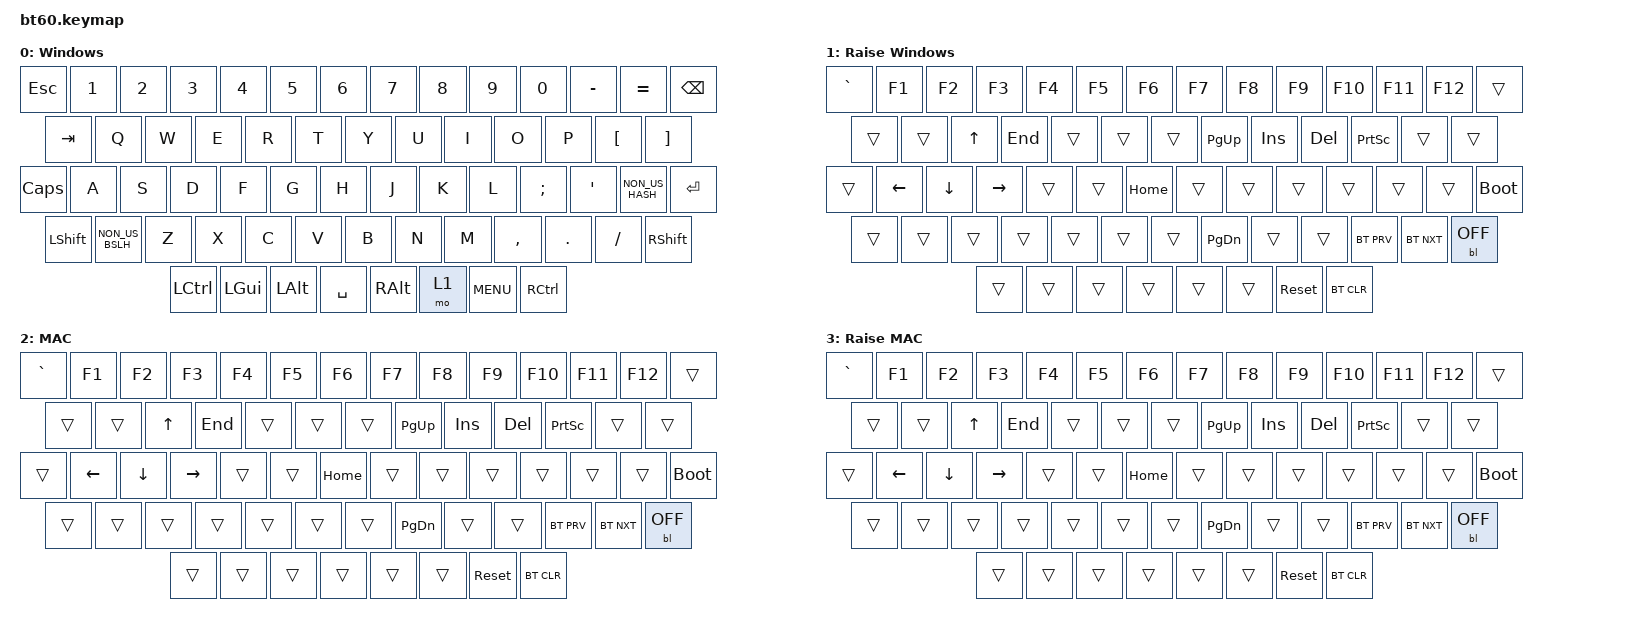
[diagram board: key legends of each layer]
#include <behaviors.dtsi>
#include <dt-bindings/zmk/keys.h>
#include <dt-bindings/zmk/bt.h>
#include <dt-bindings/zmk/rgb.h>
#include <dt-bindings/zmk/backlight.h>

/ {
	chosen {
		zmk,physical-layout = &layout_60_iso;
	};
	keymap {
		compatible = "zmk,keymap";

		windows {
			display-name = "Windows";
				// ------------------------------------------------------------------------------------------
				// |  ESC  |  1  |  2  |  3  |  4  |  5  |  6  |  7  |  8  |  9  |  0  |  -  |  =  |   BKSP
				// | TAB  |  Q  |  W  |  E  |  R  |  T  |  Y  |  U  |  I  |  O  |  P  |  [  |  ]  |        |
				// | CAPS  |  A  |  S  |  D  |  F  |  G  |  H  |  J  |  K  |  L  |  ;  |  '  |  #  | ENTER |
				// |  SHIFT|  \ |  Z  |  X  |  C  |  V  |  B  |  N  |  M  |  ,  |  .  | /   |    SHIFT    |
				// |  CTL  |  WIN  |  ALT  |            SPACE               | ALT | 1    |  MENU    |  CTRL|
				// ------------------------------------------------------------------------------------------
			bindings = <

				&kp ESC &kp N1 &kp N2 &kp N3 &kp N4 &kp N5 &kp N6 &kp N7 &kp  N8   &kp  N9 &kp  N0  &kp MINUS &kp EQUAL &kp BSPC
				&kp TAB  &kp Q  &kp W  &kp E  &kp R  &kp T  &kp Y  &kp U  &kp  I    &kp  O  &kp  P   &kp LBKT &kp RBKT
				&kp CAPS  &kp A  &kp S  &kp D  &kp F  &kp G  &kp H  &kp J  &kp  K    &kp  L  &kp SEMI &kp SQT &kp NON_US_HASH  &kp RET
				&kp LSHFT &kp NON_US_BSLH &kp Z  &kp X  &kp C  &kp V  &kp B  &kp N  &kp M  &kp COMMA &kp DOT &kp FSLH         &kp RSHFT
				&kp LCTRL &kp LGUI &kp LALT            &kp SPACE                          &kp RALT  &mo 1 &kp C_MENU    &kp RCTRL
			>;
		};
		raise-windows{
				display-name = "Raise Windows";
			bindings = <
				&kp GRAVE &kp F1 &kp F2 &kp F3 &kp F4 &kp F5 &kp F6 &kp F7 &kp F8 &kp F9 &kp F10 &kp F11 &kp F12 &trans
				&trans &trans &kp UP &kp END &trans &trans &trans &kp PG_UP &kp INS &kp DEL &kp PSCRN &trans &trans
				&trans   &kp LEFT &kp DOWN &kp RIGHT &trans &trans &kp HOME &trans &trans &trans &trans  &trans &trans  &bootloader
				&trans &trans &trans &trans &trans &trans &trans &kp PG_DN &trans &trans &bt BT_PRV &bt BT_NXT  &bl BL_OFF
				&trans &trans  &trans              &trans                            &trans   &trans   &sys_reset &bt BT_CLR
			>;
		};
		mac {
				display-name = "MAC";
			bindings = <
				&kp GRAVE &kp F1 &kp F2 &kp F3 &kp F4 &kp F5 &kp F6 &kp F7 &kp F8 &kp F9 &kp F10 &kp F11 &kp F12 &trans
				&trans &trans &kp UP &kp END &trans &trans &trans &kp PG_UP &kp INS &kp DEL &kp PSCRN &trans &trans
				&trans   &kp LEFT &kp DOWN &kp RIGHT &trans &trans &kp HOME &trans &trans &trans &trans  &trans &trans  &bootloader
				&trans &trans &trans &trans &trans &trans &trans &kp PG_DN &trans &trans &bt BT_PRV &bt BT_NXT  &bl BL_OFF
				&trans &trans  &trans              &trans                            &trans   &trans   &sys_reset &bt BT_CLR
			>;
		};
		raise-mac {
				display-name = "Raise MAC";
			bindings = <
				&kp GRAVE &kp F1 &kp F2 &kp F3 &kp F4 &kp F5 &kp F6 &kp F7 &kp F8 &kp F9 &kp F10 &kp F11 &kp F12 &trans
				&trans &trans &kp UP &kp END &trans &trans &trans &kp PG_UP &kp INS &kp DEL &kp PSCRN &trans &trans
				&trans   &kp LEFT &kp DOWN &kp RIGHT &trans &trans &kp HOME &trans &trans &trans &trans  &trans &trans  &bootloader
				&trans &trans &trans &trans &trans &trans &trans &kp PG_DN &trans &trans &bt BT_PRV &bt BT_NXT  &bl BL_OFF
				&trans &trans  &trans              &trans                            &trans   &trans   &sys_reset &bt BT_CLR
			>;
		};
	};
};
